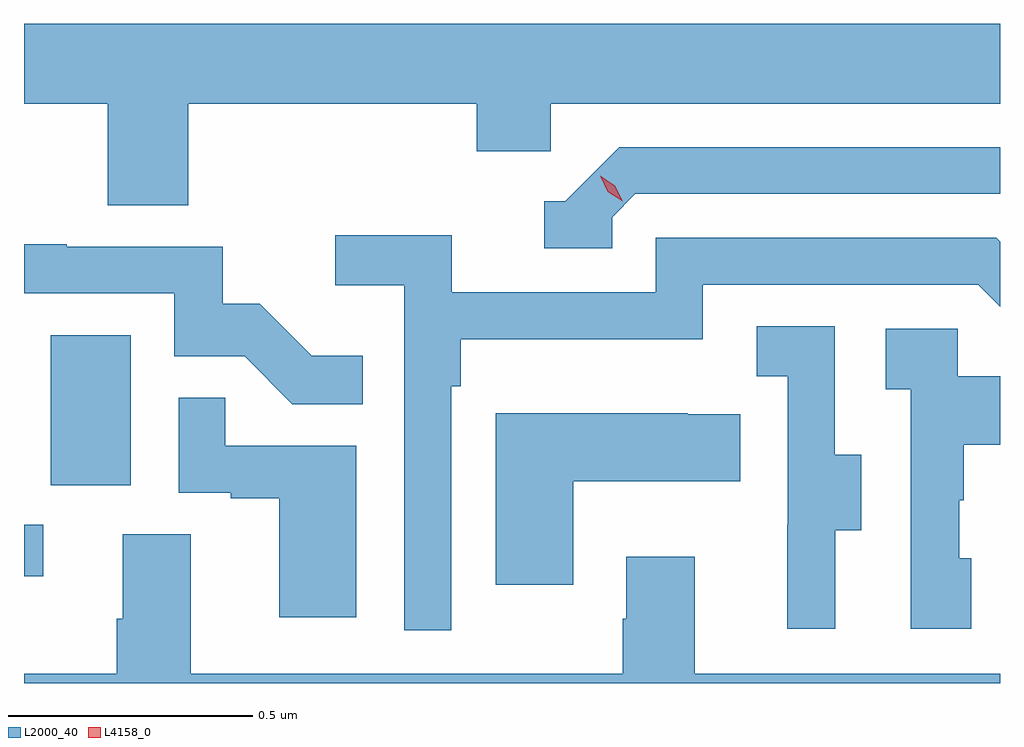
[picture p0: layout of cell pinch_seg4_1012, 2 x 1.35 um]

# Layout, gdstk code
import gdstk
lib = gdstk.Library(unit=1e-6, precision=1e-09)
def R(c, l, rs):  # rectangles x0, y0, x1, y1
    for r in rs: c.add(gdstk.rectangle(r[:2], r[2:], *l))
def P(c, l, *ps):  # polygons
    for p in ps: c.add(gdstk.Polygon(p, *l))
L2000_40 = (2000, 40)
L4158_0 = (4158, 0)

pinch_seg4_1012 = lib.new_cell('pinch_seg4_1012')
R(pinch_seg4_1012, L2000_40, [(887.875,787.86,887.914,787.965), (887.93,788.046,888.094,788.353)])
P(pinch_seg4_1012, L2000_40, [(888.212,788.828),(888.803,788.828),(888.803,788.73),(888.954,788.73),(888.954,788.828),(889.875,788.828),(889.875,788.992),(887.875,788.992),(887.875,788.828),(888.047,788.828),(888.047,788.62),(888.212,788.62)],
  [(889.08,788.595),(889.128,788.643),(889.875,788.643),(889.875,788.739),(889.095,788.739),(888.984,788.628),(888.941,788.628),(888.941,788.532),(889.08,788.532)],
  [(888.75,788.249),(888.77,788.249),(888.77,788.345),(889.266,788.345),(889.266,788.457),(889.83,788.457),(889.875,788.412),(889.875,788.545),(889.867,788.553),(889.17,788.553),(889.17,788.442),(888.752,788.442),(888.752,788.558),(888.513,788.558),(888.513,788.456),(888.654,788.456),(888.654,787.749),(888.75,787.749)],
  [(888.569,788.311),(888.465,788.311),(888.358,788.418),(888.282,788.418),(888.282,788.535),(887.963,788.535),(887.963,788.54),(887.875,788.54),(887.875,788.439),(888.183,788.439),(888.183,788.31),(888.327,788.31),(888.425,788.212),(888.569,788.212)],
  [(889.537,787.954),(889.591,787.954),(889.591,788.109),(889.536,788.109),(889.536,788.372),(889.377,788.372),(889.377,788.269),(889.44,788.269),(889.44,787.965),(889.439,787.965),(889.439,787.752),(889.537,787.752)],
  [(889.816,787.896),(889.791,787.896),(889.791,788.015),(889.801,788.015),(889.801,788.129),(889.875,788.129),(889.875,788.269),(889.788,788.269),(889.788,788.367),(889.641,788.367),(889.641,788.243),(889.692,788.243),(889.692,787.752),(889.816,787.752)],
  [(888.556,788.127),(888.287,788.127),(888.287,788.225),(888.192,788.225),(888.192,788.031),(888.299,788.031),(888.299,788.019),(888.398,788.019),(888.398,787.776),(888.556,787.776)],
  [(889,788.054),(889.343,788.054),(889.343,788.191),(889.235,788.191),(889.235,788.194),(888.842,788.194),(888.842,787.842),(889,787.842)],
  [(889.875,787.66),(889.249,787.66),(889.249,787.9),(889.109,787.9),(889.109,787.772),(889.102,787.772),(889.102,787.66),(888.217,787.66),(888.217,787.946),(888.077,787.946),(888.077,787.772),(888.065,787.772),(888.065,787.66),(887.875,787.66),(887.875,787.64),(889.875,787.64)])
P(pinch_seg4_1012, L4158_0, [(889.102,788.628),(889.071,788.647),(889.056,788.68),(889.056,788.68),(889.056,788.68),(889.086,788.66),(889.102,788.628),(889.102,788.628)])

lib.write_gds('pinch_seg4_1012.gds')
